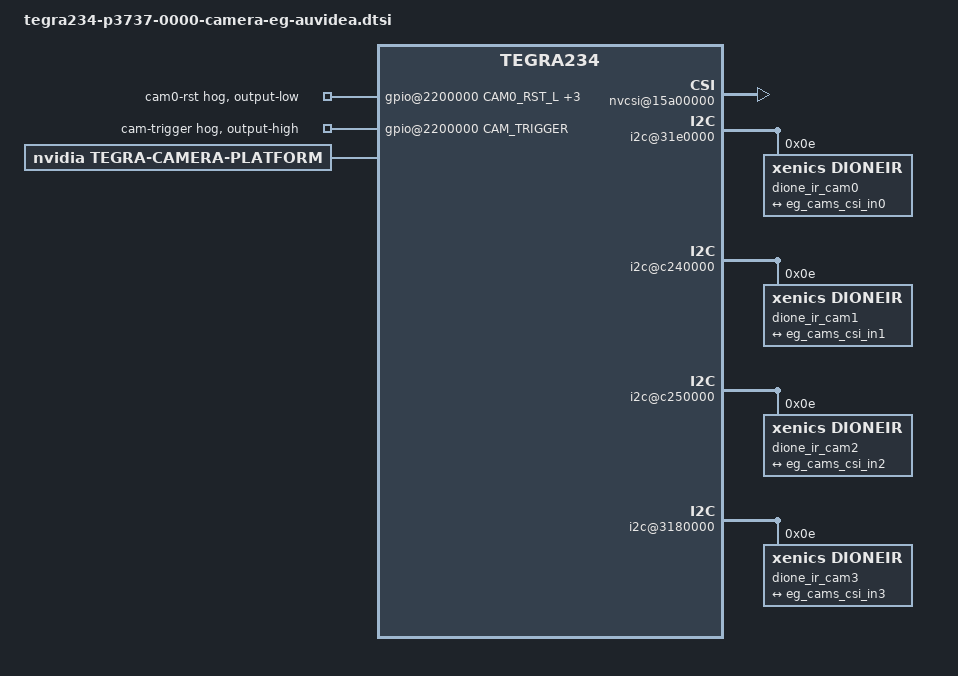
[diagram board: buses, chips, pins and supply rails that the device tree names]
/*
 * Copyright (c) 2017-2021, NVIDIA CORPORATION.  All rights reserved.
 *
 * This program is free software; you can redistribute it and/or modify it
 * under the terms and conditions of the GNU General Public License,
 * version 2, as published by the Free Software Foundation.
 *
 * This program is distributed in the hope it will be useful, but WITHOUT
 * ANY WARRANTY; without even the implied warranty of MERCHANTABILITY or
 * FITNESS FOR A PARTICULAR PURPOSE.  See the GNU General Public License for
 * more details.
 *
 * You should have received a copy of the GNU General Public License
 * along with this program.  If not, see <http://www.gnu.org/licenses/>.
 */


//new file created for 2x cam on X230D(fd)
#include "dt-bindings/clock/tegra234-clock.h"

#define CAM0_RST_L	TEGRA234_MAIN_GPIO(H, 3)
#define CAM0_PWDN	TEGRA234_MAIN_GPIO(H, 6)
#define CAM1_RST_L	TEGRA234_MAIN_GPIO(AC, 1)
#define CAM1_PWDN	TEGRA234_MAIN_GPIO(AC, 0)
#define CAM2_RST_L	TEGRA234_MAIN_GPIO(AC, 3)
#define CAM2_PWDN	TEGRA234_MAIN_GPIO(AC, 2)
#define CAM3_RST_L	TEGRA234_MAIN_GPIO(H, 4)
#define CAM3_PWDN	TEGRA234_MAIN_GPIO(H, 5)

#define CAM_TRIGGER	TEGRA234_MAIN_GPIO(R, 0)

#define CAMERA_I2C_MUX_BUS(x) (0x1E + x)


//new file created for 4x cam on X230(D) + M222					(fd)

/ {

	gpio@2200000 {
		camera-control-output-low {
			gpio-hog;
			output-low;
			gpios = <CAM0_RST_L 0 CAM0_PWDN 0
				 CAM1_RST_L 0 CAM1_PWDN 0>;
			label = "cam0-rst", "cam0-pwdn",
				"cam1-rst", "cam1-pwdn";
		};
		camera-trigger-output-high {
			gpio-hog;
			output-high;
			gpios = <CAM_TRIGGER 0>;
			label = "cam-trigger";
		};
	};


	tegra-capture-vi {
		status = "okay";
		num-channels = <4>;
		ports {
			status = "okay";
			#address-cells = <1>;
			#size-cells = <0>;
			vi_port0: port@0 {								//M222 CSI 01		
				status = "okay";
				reg = <0>;
				eg_cams_vi_in0: endpoint {
					status = "okay";
					port-index = <0>;
					bus-width = <2>;
					remote-endpoint = <&eg_cams_csi_out0>;
				};
			};
			vi_port1: port@1 {								//M222 CSI 67		
				status = "okay";
				reg = <1>;
				eg_cams_vi_in1: endpoint {
					status = "okay";
					port-index = <5>;
					bus-width = <2>;
					remote-endpoint = <&eg_cams_csi_out1>;
				};
			};
			vi_port2: port@2 {								//M222 CSI 45	
				status = "okay";
				reg = <2>;
				eg_cams_vi_in2: endpoint {
					status = "okay";
					port-index = <4>;
					bus-width = <2>;
					remote-endpoint = <&eg_cams_csi_out2>;
				};
			};
			vi_port3: port@3 {								//M222 CSI 23
				status = "okay";
				reg = <3>;
				eg_cams_vi_in3: endpoint {
					status = "okay";
					port-index = <2>;
					bus-width = <2>;
					remote-endpoint = <&eg_cams_csi_out3>;
				};
			};
		};
	};

	host1x@13e00000 {
		nvcsi@15a00000 {
			status = "okay";
			num-channels = <4>;
			#address-cells = <1>;
			#size-cells = <0>;
			csi_chan0: channel@0 {								//M222 CSI 01		
				status = "okay";
				reg = <0>;
				ports {
					status = "okay";
					#address-cells = <1>;
					#size-cells = <0>;
					csi_chan0_port0: port@0 {
						status = "okay";
						reg = <0>;
						eg_cams_csi_in0: endpoint@0 {
							status = "okay";
							port-index = <0>;
							bus-width = <2>;
							remote-endpoint = <&xenics_dione_ir_out0>;
						};
					};
					csi_chan0_port1: port@1 {
						status = "okay";
						reg = <1>;
						eg_cams_csi_out0: endpoint@1 {
							status = "okay";
							remote-endpoint = <&eg_cams_vi_in0>;
						};
					};
				};
			};
			csi_chan1: channel@1 {								//M222 CSI 67		
				status = "okay";
				reg = <1>;
				ports {
					status = "okay";
					#address-cells = <1>;
					#size-cells = <0>;
					csi_chan1_port0: port@0 {
						status = "okay";
						reg = <0>;
						eg_cams_csi_in1: endpoint@0 {
							status = "okay";
							port-index = <6>;
							bus-width = <2>;
							remote-endpoint = <&xenics_dione_ir_out1>;
						};
					};
					csi_chan1_port1: port@1 {
						status = "okay";
						reg = <1>;
						eg_cams_csi_out1: endpoint@1 {
							status = "okay";
							remote-endpoint = <&eg_cams_vi_in1>;
						};
					};
				};
			};
			csi_chan2: channel@2 {								//M222 CSI 45		
				status = "okay";
				reg = <2>;
				ports {
					status = "okay";
					#address-cells = <1>;
					#size-cells = <0>;
					csi_chan2_port0: port@0 {
						status = "okay";
						reg = <0>;
						eg_cams_csi_in2: endpoint@0 {
							status = "okay";
							port-index = <4>;
							bus-width = <2>;
							remote-endpoint = <&xenics_dione_ir_out2>;
						};
					};
					csi_chan2_port1: port@1 {
						status = "okay";
						reg = <1>;
						eg_cams_csi_out2: endpoint@1 {
							status = "okay";
							remote-endpoint = <&eg_cams_vi_in2>;
						};
					};
				};
			};
			csi_chan3: channel@3 {								//M222 CSI 23
				status = "okay";
				reg = <3>;
				ports {
					status = "okay";
					#address-cells = <1>;
					#size-cells = <0>;
					csi_chan3_port0: port@0 {
						status = "okay";
						reg = <0>;
						eg_cams_csi_in3: endpoint@0 {
							status = "okay";
							port-index = <2>;
							bus-width = <2>;
							remote-endpoint = <&xenics_dione_ir_out3>;
						};
					};
					csi_chan3_port1: port@1 {
						status = "okay";
						reg = <1>;
						eg_cams_csi_out3: endpoint@1 {
							status = "okay";
							remote-endpoint = <&eg_cams_vi_in3>;
						};
					};
				};
			};
		};
	};

	i2c@31e0000 {											//M222 CSI 01		
      dione_ir_cam0: xenics_dione_ir_a@0e {
         compatible = "xenics,dioneir";
         /* I2C device address */
         reg = <0x0e>;
         fpga-address = <0x5a 0x5b 0x5c 0x5d>;

         /* V4L2 device node location */
         devnode = "video0";

         /* Physical dimensions of sensor */
         physical_w = "7.680";
         physical_h = "5.760";

         sensor_model = "dione_ir";

         use_sensor_mode_id = "false";

         /**
         * ==== Modes ====
         * A modeX node is required to support v4l2 driver
         * implementation with NVIDIA camera software stack
         *
         * == Signal properties ==
         *
         * phy_mode = "";
         * PHY mode used by the MIPI lanes for this device
         *
         * tegra_sinterface = "";
         * CSI Serial interface connected to tegra
         * Incase of virtual HW devices, use virtual
         * For SW emulated devices, use host
         *
         * pix_clk_hz = "";
         * Sensor pixel clock used for calculations like exposure and framerate
         *
         * readout_orientation = "0";
         * Based on camera module orientation.
         * Only change readout_orientation if you specifically
         * Program a different readout order for this mode
         *
         * == Image format Properties ==
         *
         * active_w = "";
         * Pixel active region width
         *
         * active_h = "";
         * Pixel active region height
         *
         * pixel_t = "";
         * The sensor readout pixel pattern
         *
         * line_length = "";
         * Pixel line length (width) for sensor mode.
         *
         * == Source Control Settings ==
         *
         * Gain factor used to convert fixed point integer to float
         * Gain range [min_gain/gain_factor, max_gain/gain_factor]
         * Gain step [step_gain/gain_factor is the smallest step that can be configured]
         * Default gain [Default gain to be initialized for the control.
         *     use min_gain_val as default for optimal results]
         * Framerate factor used to convert fixed point integer to float
         * Framerate range [min_framerate/framerate_factor, max_framerate/framerate_factor]
         * Framerate step [step_framerate/framerate_factor is the smallest step that can be configured]
         * Default Framerate [Default framerate to be initialized for the control.
         *     use max_framerate to get required performance]
         * Exposure factor used to convert fixed point integer to float
         * For convenience use 1 sec = 1000000us as conversion factor
         * Exposure range [min_exp_time/exposure_factor, max_exp_time/exposure_factor]
         * Exposure step [step_exp_time/exposure_factor is the smallest step that can be configured]
         * Default Exposure Time [Default exposure to be initialized for the control.
         *     Set default exposure based on the default_framerate for optimal exposure settings]
         *
         * gain_factor = ""; (integer factor used for floating to fixed point conversion)
         * min_gain_val = ""; (ceil to integer)
         * max_gain_val = ""; (ceil to integer)
         * step_gain_val = ""; (ceil to integer)
         * default_gain = ""; (ceil to integer)
         * Gain limits for mode
         *
         * exposure_factor = ""; (integer factor used for floating to fixed point conversion)
         * min_exp_time = ""; (ceil to integer)
         * max_exp_time = ""; (ceil to integer)
         * step_exp_time = ""; (ceil to integer)
         * default_exp_time = ""; (ceil to integer)
         * Exposure Time limits for mode (sec)
         *
         * framerate_factor = ""; (integer factor used for floating to fixed point conversion)
         * min_framerate = ""; (ceil to integer)
         * max_framerate = ""; (ceil to integer)
         * step_framerate = ""; (ceil to integer)
         * default_framerate = ""; (ceil to integer)
         * Framerate limits for mode (fps)
         *
         * embedded_metadata_height = "";
         * Sensor embedded metadata height in units of rows.
         * If sensor does not support embedded metadata value should be 0.
         */
         
         mode0 { /* DIONE_IR_MODE_640x480_60FPS */
            mclk_khz = "24000";
            num_lanes = "2";
            tegra_sinterface = "serial_a";
            phy_mode = "DPHY";
            discontinuous_clk = "no";
            dpcm_enable = "false";
            cil_settletime = "0";

            active_w = "640";
            active_h = "480";
            mode_type = "rgb";
            pixel_phase = "rgb888";
            csi_pixel_bit_depth = "24";
            readout_orientation = "0";
            line_length = "694";
            /* inherent_gain = "1"; */
            /* mclk_multiplier = "9.33"; */
            pix_clk_hz = "20000000";

            /* unused */
            gain_factor = "16";
            exposure_factor = "1000000";
            min_gain_val = "16"; /* 1.00x */
            max_gain_val = "170"; /* 10.66x */
            step_gain_val = "1";
            default_gain = "16"; /* 1.00x */
            min_hdr_ratio = "1";
            max_hdr_ratio = "1";

            /* framerate */
            framerate_factor = "1000000";
            min_framerate = "40000000"; /* 40 fps */
            max_framerate = "62000000"; /* 62 fps */
            step_framerate = "1";
            default_framerate = "60020000"; /* 60.020 fps */

            /* unused */
            min_exp_time = "13"; /* us */
            max_exp_time = "683709"; /* us */
            step_exp_time = "1";
            default_exp_time = "2495"; /* us */

            embedded_metadata_height = "0";
         };

         mode1 { /* DIONE_IR_MODE_1280x1024_60FPS */
            mclk_khz = "24000";
            num_lanes = "2";
            tegra_sinterface = "serial_a";
            phy_mode = "DPHY";
            discontinuous_clk = "no";
            dpcm_enable = "false";
            cil_settletime = "0";

            active_w = "1280";
            active_h = "1024";
            mode_type = "rgb";
            pixel_phase = "rgb888";
            csi_pixel_bit_depth = "24";
            readout_orientation = "0";
            line_length = "1334";
            /* inherent_gain = "1"; */
            /* mclk_multiplier = "9.33"; */
            pix_clk_hz = "83000000";

            /* unused */
            gain_factor = "16";
            exposure_factor = "1000000";
            min_gain_val = "16"; /* 1.00x */
            max_gain_val = "170"; /* 10.66x */
            step_gain_val = "1";
            default_gain = "16"; /* 1.00x */
            min_hdr_ratio = "1";
            max_hdr_ratio = "1";

            /* framerate */
            framerate_factor = "1000000";
            min_framerate = "40000000"; /* 40 fps */
            max_framerate = "62000000"; /* 62 fps */
            step_framerate = "1";
            default_framerate = "60756000"; /* 60.756 fps */

            /* unused */
            min_exp_time = "13"; /* us */
            max_exp_time = "683709"; /* us */
            step_exp_time = "1";
            default_exp_time = "2495"; /* us */

            embedded_metadata_height = "0";
         };

         mode2 { /* DIONE_IR_MODE_320x240_60FPS */
            mclk_khz = "24000";
            num_lanes = "2";
            tegra_sinterface = "serial_a";
            phy_mode = "DPHY";
            discontinuous_clk = "no";
            dpcm_enable = "false";
            cil_settletime = "0";

            active_w = "320";
            active_h = "240";
            mode_type = "rgb";
            pixel_phase = "rgb888";
            csi_pixel_bit_depth = "24";
            readout_orientation = "0";
            line_length = "1404";
            /* inherent_gain = "1"; */
            /* mclk_multiplier = "9.33"; */
            pix_clk_hz = "20000000";

            /* unused */
            gain_factor = "16";
            exposure_factor = "1000000";
            min_gain_val = "16"; /* 1.00x */
            max_gain_val = "170"; /* 10.66x */
            step_gain_val = "1";
            default_gain = "16"; /* 1.00x */
            min_hdr_ratio = "1";
            max_hdr_ratio = "1";

            /* framerate */
            framerate_factor = "1000000";
            min_framerate = "40000000"; /* 40 fps */
            max_framerate = "62000000"; /* 62 fps */
            step_framerate = "1";
            default_framerate = "60020000"; /* 60.020 fps */

            /* unused */
            min_exp_time = "13"; /* us */
            max_exp_time = "683709"; /* us */
            step_exp_time = "1";
            default_exp_time = "2495"; /* us */

            embedded_metadata_height = "0";
         };

         mode3 { /* DIONE_IR_MODE_1024x768_60FPS */
            mclk_khz = "24000";
            num_lanes = "2";
            tegra_sinterface = "serial_a";
            phy_mode = "DPHY";
            discontinuous_clk = "no";
            dpcm_enable = "false";
            cil_settletime = "0";

            active_w = "1024";
            active_h = "768";
            mode_type = "rgb";
            pixel_phase = "rgb888";
            csi_pixel_bit_depth = "24";
            readout_orientation = "0";
            line_length = "1079";
            /* inherent_gain = "1"; */
            /* mclk_multiplier = "9.33"; */
            pix_clk_hz = "83000000";

            /* unused */
            gain_factor = "16";
            exposure_factor = "1000000";
            min_gain_val = "16"; /* 1.00x */
            max_gain_val = "170"; /* 10.66x */
            step_gain_val = "1";
            default_gain = "16"; /* 1.00x */
            min_hdr_ratio = "1";
            max_hdr_ratio = "1";

            /* framerate */
            framerate_factor = "1000000";
            min_framerate = "40000000"; /* 40 fps */
            max_framerate = "62000000"; /* 62 fps */
            step_framerate = "1";
            default_framerate = "60756000"; /* 60.756 fps */

            /* unused */
            min_exp_time = "13"; /* us */
            max_exp_time = "683709"; /* us */
            step_exp_time = "1";
            default_exp_time = "2495"; /* us */

            embedded_metadata_height = "0";
         };

         ports {
            #address-cells = <1>;
            #size-cells = <0>;
            port@0 {
               reg = <0>;
               xenics_dione_ir_out0: endpoint {
                  port-index = <0>;
                  bus-width = <2>;
                  remote-endpoint = <&eg_cams_csi_in0>;
                  link-frequencies = /bits/ 64 <240000000 497000000>;
               };
            };
         };
      };
      eg_ec_cam0: eg_ec_a@16 {
         compatible = "xenics,eg-ec-mipi";
         /* I2C device address */
         reg = <0x16>;
         status = "disabled";

         /* V4L2 device node location */
         devnode = "video0";

         sensor_model = "eg_ec";

         use_sensor_mode_id = "true";

         /**
         * ==== Modes ====
         * A modeX node is required to support v4l2 driver
         * implementation with NVIDIA camera software stack
         *
         * == Signal properties ==
         *
         * phy_mode = "";
         * PHY mode used by the MIPI lanes for this device
         *
         * tegra_sinterface = "";
         * CSI Serial interface connected to tegra
         * Incase of virtual HW devices, use virtual
         * For SW emulated devices, use host
         *
         * pix_clk_hz = "";
         * Sensor pixel clock used for calculations like exposure and framerate
         *
         * readout_orientation = "0";
         * Based on camera module orientation.
         * Only change readout_orientation if you specifically
         * Program a different readout order for this mode
         *
         * == Image format Properties ==
         *
         * active_w = "";
         * Pixel active region width
         *
         * active_h = "";
         * Pixel active region height
         *
         * pixel_t = "";
         * The sensor readout pixel pattern
         *
         * line_length = "";
         * Pixel line length (width) for sensor mode.
         *
         * == Source Control Settings ==
         *
         * Gain factor used to convert fixed point integer to float
         * Gain range [min_gain/gain_factor, max_gain/gain_factor]
         * Gain step [step_gain/gain_factor is the smallest step that can be configured]
         * Default gain [Default gain to be initialized for the control.
         *     use min_gain_val as default for optimal results]
         * Framerate factor used to convert fixed point integer to float
         * Framerate range [min_framerate/framerate_factor, max_framerate/framerate_factor]
         * Framerate step [step_framerate/framerate_factor is the smallest step that can be configured]
         * Default Framerate [Default framerate to be initialized for the control.
         *     use max_framerate to get required performance]
         * Exposure factor used to convert fixed point integer to float
         * For convenience use 1 sec = 1000000us as conversion factor
         * Exposure range [min_exp_time/exposure_factor, max_exp_time/exposure_factor]
         * Exposure step [step_exp_time/exposure_factor is the smallest step that can be configured]
         * Default Exposure Time [Default exposure to be initialized for the control.
         *     Set default exposure based on the default_framerate for optimal exposure settings]
         *
         * gain_factor = ""; (integer factor used for floating to fixed point conversion)
         * min_gain_val = ""; (ceil to integer)
         * max_gain_val = ""; (ceil to integer)
         * step_gain_val = ""; (ceil to integer)
         * default_gain = ""; (ceil to integer)
         * Gain limits for mode
         *
         * exposure_factor = ""; (integer factor used for floating to fixed point conversion)
         * min_exp_time = ""; (ceil to integer)
         * max_exp_time = ""; (ceil to integer)
         * step_exp_time = ""; (ceil to integer)
         * default_exp_time = ""; (ceil to integer)
         * Exposure Time limits for mode (sec)
         *
         * framerate_factor = ""; (integer factor used for floating to fixed point conversion)
         * min_framerate = ""; (ceil to integer)
         * max_framerate = ""; (ceil to integer)
         * step_framerate = ""; (ceil to integer)
         * default_framerate = ""; (ceil to integer)
         * Framerate limits for mode (fps)
         *
         * embedded_metadata_height = "";
         * Sensor embedded metadata height in units of rows.
         * If sensor does not support embedded metadata value should be 0.
         */
         mode0 { // EC_MODE_640x480_RAW16
            num_lanes = "2";
            tegra_sinterface = "serial_a";
            phy_mode = "DPHY";
            discontinuous_clk = "yes";
            dpcm_enable = "false";
            cil_settletime = "0";
            active_w = "640";
            active_h = "480";
            line_length = "640";
            mode_type = "raw";
            pixel_phase = "grey";
            csi_pixel_bit_depth = "16";
            pix_clk_hz = "100000000";
            embedded_metadata_height = "0";
         };
         mode1 { // EC_MODE_640x480_RGB888
            num_lanes = "2";
            tegra_sinterface = "serial_a";
            phy_mode = "DPHY";
            discontinuous_clk = "yes";
            dpcm_enable = "false";
            cil_settletime = "0";
            active_w = "640";
            active_h = "480";
            line_length = "640";
            mode_type = "rgb";
            pixel_phase = "rgb888";
            csi_pixel_bit_depth = "24";
            pix_clk_hz = "100000000";
            embedded_metadata_height = "0";
         };
         mode2 { // EC_MODE_640x480_YUYV
            num_lanes = "2";
            tegra_sinterface = "serial_a";
            phy_mode = "DPHY";
            discontinuous_clk = "yes";
            dpcm_enable = "false";
            cil_settletime = "0";
            active_w = "640";
            active_h = "480";
            line_length = "640";
            mode_type = "yuv";
            pixel_phase = "yuyv";
            csi_pixel_bit_depth = "16";
            pix_clk_hz = "100000000";
            embedded_metadata_height = "0";
         };
         mode3 { // EC_MODE_1280x1024_RAW16
            num_lanes = "2";
            tegra_sinterface = "serial_a";
            phy_mode = "DPHY";
            discontinuous_clk = "yes";
            dpcm_enable = "false";
            cil_settletime = "0";
            active_w = "1280";
            active_h = "1024";
            line_length = "1280";
            mode_type = "raw";
            pixel_phase = "grey";
            csi_pixel_bit_depth = "16";
            pix_clk_hz = "133333336";
            embedded_metadata_height = "0";
         };
         mode4 { // EC_MODE_1280x1024_RGB888
            num_lanes = "2";
            tegra_sinterface = "serial_a";
            phy_mode = "DPHY";
            discontinuous_clk = "yes";
            dpcm_enable = "false";
            cil_settletime = "0";
            active_w = "1280";
            active_h = "1024";
            line_length = "1280";
            mode_type = "rgb";
            pixel_phase = "rgb888";
            csi_pixel_bit_depth = "24";
            pix_clk_hz = "100000000";
            embedded_metadata_height = "0";
         };
         mode5 { // EC_MODE_1280x1024_YUYV
            num_lanes = "2";
            tegra_sinterface = "serial_a";
            phy_mode = "DPHY";
            discontinuous_clk = "yes";
            dpcm_enable = "false";
            cil_settletime = "0";
            active_w = "1280";
            active_h = "1024";
            line_length = "1280";
            mode_type = "yuv";
            pixel_phase = "yuyv";
            csi_pixel_bit_depth = "16";
            pix_clk_hz = "133333336";
            embedded_metadata_height = "0";
         };

         ports {
            #address-cells = <1>;
            #size-cells = <0>;
            port@0 {
               reg = <0>;
               eg_ec_out0: endpoint {
                  port-index = <0>;
                  bus-width = <2>;
                  remote-endpoint = <&eg_cams_csi_in0>;
               };
            };
         };
      };
	};
	i2c@c240000 {												//M222 CSI 67			
      dione_ir_cam1: xenics_dione_ir_g@0e {
         compatible = "xenics,dioneir";
         reg = <0x0e>;
         fpga-address = <0x5a 0x5b 0x5c 0x5d>;

         // V4L2 device node location
         devnode = "video1";

         /* Physical dimensions of sensor */
         physical_w = "7.680";
         physical_h = "5.760";

         sensor_model = "dione_ir";

         use_sensor_mode_id = "false";

         mode0 { /* DIONE_IR_MODE_640x480_60FPS */
            mclk_khz = "24000";
            num_lanes = "2";
            tegra_sinterface = "serial_g";
            phy_mode = "DPHY";
            discontinuous_clk = "no";
            dpcm_enable = "false";
            cil_settletime = "0";

            active_w = "640";
            active_h = "480";
            mode_type = "rgb";
            pixel_phase = "rgb888";
            csi_pixel_bit_depth = "24";
            readout_orientation = "0";
            line_length = "694";
            /* inherent_gain = "1"; */
            /* mclk_multiplier = "9.33"; */
            pix_clk_hz = "20000000";

            /* unused */
            gain_factor = "16";
            exposure_factor = "1000000";
            min_gain_val = "16"; /* 1.00x */
            max_gain_val = "170"; /* 10.66x */
            step_gain_val = "1";
            default_gain = "16"; /* 1.00x */
            min_hdr_ratio = "1";
            max_hdr_ratio = "1";

            /* framerate */
            framerate_factor = "1000000";
            min_framerate = "40000000"; /* 40 fps */
            max_framerate = "62000000"; /* 62 fps */
            step_framerate = "1";
            default_framerate = "60020000"; /* 60.020 fps */

            /* unused */
            min_exp_time = "13"; /* us */
            max_exp_time = "683709"; /* us */
            step_exp_time = "1";
            default_exp_time = "2495"; /* us */

            embedded_metadata_height = "0";
         };

         mode1 { /* DIONE_IR_MODE_1280x1024_60FPS */
            mclk_khz = "24000";
            num_lanes = "2";
            tegra_sinterface = "serial_g";
            phy_mode = "DPHY";
            discontinuous_clk = "no";
            dpcm_enable = "false";
            cil_settletime = "0";

            active_w = "1280";
            active_h = "1024";
            mode_type = "rgb";
            pixel_phase = "rgb888";
            csi_pixel_bit_depth = "24";
            readout_orientation = "0";
            line_length = "1334";
            /* inherent_gain = "1"; */
            /* mclk_multiplier = "9.33"; */
            pix_clk_hz = "83000000";

            /* unused */
            gain_factor = "16";
            exposure_factor = "1000000";
            min_gain_val = "16"; /* 1.00x */
            max_gain_val = "170"; /* 10.66x */
            step_gain_val = "1";
            default_gain = "16"; /* 1.00x */
            min_hdr_ratio = "1";
            max_hdr_ratio = "1";

            /* framerate */
            framerate_factor = "1000000";
            min_framerate = "40000000"; /* 40 fps */
            max_framerate = "62000000"; /* 62 fps */
            step_framerate = "1";
            default_framerate = "60756000"; /* 60.756 fps */

            /* unused */
            min_exp_time = "13"; /* us */
            max_exp_time = "683709"; /* us */
            step_exp_time = "1";
            default_exp_time = "2495"; /* us */

            embedded_metadata_height = "0";
         };

         mode2 { /* DIONE_IR_MODE_320x240_60FPS */
            mclk_khz = "24000";
            num_lanes = "2";
            tegra_sinterface = "serial_g";
            phy_mode = "DPHY";
            discontinuous_clk = "no";
            dpcm_enable = "false";
            cil_settletime = "0";

            active_w = "320";
            active_h = "240";
            mode_type = "rgb";
            pixel_phase = "rgb888";
            csi_pixel_bit_depth = "24";
            readout_orientation = "0";
            line_length = "1404";
            /* inherent_gain = "1"; */
            /* mclk_multiplier = "9.33"; */
            pix_clk_hz = "20000000";

            /* unused */
            gain_factor = "16";
            exposure_factor = "1000000";
            min_gain_val = "16"; /* 1.00x */
            max_gain_val = "170"; /* 10.66x */
            step_gain_val = "1";
            default_gain = "16"; /* 1.00x */
            min_hdr_ratio = "1";
            max_hdr_ratio = "1";

            /* framerate */
            framerate_factor = "1000000";
            min_framerate = "40000000"; /* 40 fps */
            max_framerate = "62000000"; /* 62 fps */
            step_framerate = "1";
            default_framerate = "60020000"; /* 60.020 fps */

            /* unused */
            min_exp_time = "13"; /* us */
            max_exp_time = "683709"; /* us */
            step_exp_time = "1";
            default_exp_time = "2495"; /* us */

            embedded_metadata_height = "0";
         };

         mode3 { /* DIONE_IR_MODE_1024x768_60FPS */
            mclk_khz = "24000";
            num_lanes = "2";
            tegra_sinterface = "serial_g";
            phy_mode = "DPHY";
            discontinuous_clk = "no";
            dpcm_enable = "false";
            cil_settletime = "0";

            active_w = "1024";
            active_h = "768";
            mode_type = "rgb";
            pixel_phase = "rgb888";
            csi_pixel_bit_depth = "24";
            readout_orientation = "0";
            line_length = "1079";
            /* inherent_gain = "1"; */
            /* mclk_multiplier = "9.33"; */
            pix_clk_hz = "83000000";

            /* unused */
            gain_factor = "16";
            exposure_factor = "1000000";
            min_gain_val = "16"; /* 1.00x */
            max_gain_val = "170"; /* 10.66x */
            step_gain_val = "1";
            default_gain = "16"; /* 1.00x */
            min_hdr_ratio = "1";
            max_hdr_ratio = "1";

            /* framerate */
            framerate_factor = "1000000";
            min_framerate = "40000000"; /* 40 fps */
            max_framerate = "62000000"; /* 62 fps */
            step_framerate = "1";
            default_framerate = "60756000"; /* 60.756 fps */

            /* unused */
            min_exp_time = "13"; /* us */
            max_exp_time = "683709"; /* us */
            step_exp_time = "1";
            default_exp_time = "2495"; /* us */

            embedded_metadata_height = "0";
         };

         ports {
            #address-cells = <1>;
            #size-cells = <0>;
            port@0 {
               reg = <0>;
               xenics_dione_ir_out1: endpoint {
                  port-index = <6>;
                  bus-width = <2>;
                  remote-endpoint = <&eg_cams_csi_in1>;
                  link-frequencies = /bits/ 64 <240000000 497000000>;
               };
            };
         };
      };
      eg_ec_cam1: eg_ec_g@16 {
         compatible = "xenics,eg-ec-mipi";
         reg = <0x16>;
         status = "disabled";

         // V4L2 device node location
         devnode = "video1";

         sensor_model = "eg_ec";

         use_sensor_mode_id = "true";

         mode0 { // EC_MODE_640x480_RAW16
            num_lanes = "2";
            tegra_sinterface = "serial_g";
            phy_mode = "DPHY";
            discontinuous_clk = "yes";
            dpcm_enable = "false";
            cil_settletime = "0";
            active_w = "640";
            active_h = "480";
            line_length = "640";
            mode_type = "raw";
            pixel_phase = "grey";
            csi_pixel_bit_depth = "16";
            pix_clk_hz = "100000000";
            embedded_metadata_height = "0";
         };
         mode1 { // EC_MODE_640x480_RGB888
            num_lanes = "2";
            tegra_sinterface = "serial_g";
            phy_mode = "DPHY";
            discontinuous_clk = "yes";
            dpcm_enable = "false";
            cil_settletime = "0";
            active_w = "640";
            active_h = "480";
            line_length = "640";
            mode_type = "rgb";
            pixel_phase = "rgb888";
            csi_pixel_bit_depth = "24";
            pix_clk_hz = "100000000";
            embedded_metadata_height = "0";
         };
         mode2 { // EC_MODE_640x480_YUYV
            num_lanes = "2";
            tegra_sinterface = "serial_g";
            phy_mode = "DPHY";
            discontinuous_clk = "yes";
            dpcm_enable = "false";
            cil_settletime = "0";
            active_w = "640";
            active_h = "480";
            line_length = "640";
            mode_type = "yuv";
            pixel_phase = "yuyv";
            csi_pixel_bit_depth = "16";
            pix_clk_hz = "100000000";
            embedded_metadata_height = "0";
         };
         mode3 { // EC_MODE_1280x1024_RAW16
            num_lanes = "2";
            tegra_sinterface = "serial_g";
            phy_mode = "DPHY";
            discontinuous_clk = "yes";
            dpcm_enable = "false";
            cil_settletime = "0";
            active_w = "1280";
            active_h = "1024";
            line_length = "1280";
            mode_type = "raw";
            pixel_phase = "grey";
            csi_pixel_bit_depth = "16";
            pix_clk_hz = "133333336";
            embedded_metadata_height = "0";
         };
         mode4 { // EC_MODE_1280x1024_RGB888
            num_lanes = "2";
            tegra_sinterface = "serial_g";
            phy_mode = "DPHY";
            discontinuous_clk = "yes";
            dpcm_enable = "false";
            cil_settletime = "0";
            active_w = "1280";
            active_h = "1024";
            line_length = "1280";
            mode_type = "rgb";
            pixel_phase = "rgb888";
            csi_pixel_bit_depth = "24";
            pix_clk_hz = "100000000";
            embedded_metadata_height = "0";
         };
         mode5 { // EC_MODE_1280x1024_YUYV
            num_lanes = "2";
            tegra_sinterface = "serial_g";
            phy_mode = "DPHY";
            discontinuous_clk = "yes";
            dpcm_enable = "false";
            cil_settletime = "0";
            active_w = "1280";
            active_h = "1024";
            line_length = "1280";
            mode_type = "yuv";
            pixel_phase = "yuyv";
            csi_pixel_bit_depth = "16";
            pix_clk_hz = "133333336";
            embedded_metadata_height = "0";
         };
         ports {
            #address-cells = <1>;
            #size-cells = <0>;
            port@0 {
               reg = <0>;
               eg_ec_out1: endpoint {
                  port-index = <6>;
                  bus-width = <2>;
                  remote-endpoint = <&eg_cams_csi_in1>;
               };
            };
         };
      };
	};
	i2c@c250000 {												//M222 CSI 45	
      dione_ir_cam2: xenics_dione_ir_e@0e {
         compatible = "xenics,dioneir";
         reg = <0x0e>;
         fpga-address = <0x5a 0x5b 0x5c 0x5d>;

         // V4L2 device node location
         devnode = "video2";

         /* Physical dimensions of sensor */
         physical_w = "7.680";
         physical_h = "5.760";

         sensor_model = "dione_ir";

         use_sensor_mode_id = "false";

         mode0 { /* DIONE_IR_MODE_640x480_60FPS */
            mclk_khz = "24000";
            num_lanes = "2";
            tegra_sinterface = "serial_e";
            phy_mode = "DPHY";
            discontinuous_clk = "no";
            dpcm_enable = "false";
            cil_settletime = "0";

            active_w = "640";
            active_h = "480";
            mode_type = "rgb";
            pixel_phase = "rgb888";
            csi_pixel_bit_depth = "24";
            readout_orientation = "0";
            line_length = "694";
            /* inherent_gain = "1"; */
            /* mclk_multiplier = "9.33"; */
            pix_clk_hz = "20000000";

            /* unused */
            gain_factor = "16";
            exposure_factor = "1000000";
            min_gain_val = "16"; /* 1.00x */
            max_gain_val = "170"; /* 10.66x */
            step_gain_val = "1";
            default_gain = "16"; /* 1.00x */
            min_hdr_ratio = "1";
            max_hdr_ratio = "1";

            /* framerate */
            framerate_factor = "1000000";
            min_framerate = "40000000"; /* 40 fps */
            max_framerate = "62000000"; /* 62 fps */
            step_framerate = "1";
            default_framerate = "60020000"; /* 60.020 fps */

            /* unused */
            min_exp_time = "13"; /* us */
            max_exp_time = "683709"; /* us */
            step_exp_time = "1";
            default_exp_time = "2495"; /* us */

            embedded_metadata_height = "0";
         };

         mode1 { /* DIONE_IR_MODE_1280x1024_60FPS */
            mclk_khz = "24000";
            num_lanes = "2";
            tegra_sinterface = "serial_e";
            phy_mode = "DPHY";
            discontinuous_clk = "no";
            dpcm_enable = "false";
            cil_settletime = "0";

            active_w = "1280";
            active_h = "1024";
            mode_type = "rgb";
            pixel_phase = "rgb888";
            csi_pixel_bit_depth = "24";
            readout_orientation = "0";
            line_length = "1334";
            /* inherent_gain = "1"; */
            /* mclk_multiplier = "9.33"; */
            pix_clk_hz = "83000000";

            /* unused */
            gain_factor = "16";
            exposure_factor = "1000000";
            min_gain_val = "16"; /* 1.00x */
            max_gain_val = "170"; /* 10.66x */
            step_gain_val = "1";
            default_gain = "16"; /* 1.00x */
            min_hdr_ratio = "1";
            max_hdr_ratio = "1";

            /* framerate */
            framerate_factor = "1000000";
            min_framerate = "40000000"; /* 40 fps */
            max_framerate = "62000000"; /* 62 fps */
            step_framerate = "1";
            default_framerate = "60756000"; /* 60.756 fps */

            /* unused */
            min_exp_time = "13"; /* us */
            max_exp_time = "683709"; /* us */
            step_exp_time = "1";
            default_exp_time = "2495"; /* us */

            embedded_metadata_height = "0";
         };

         mode2 { /* DIONE_IR_MODE_320x240_60FPS */
            mclk_khz = "24000";
            num_lanes = "2";
            tegra_sinterface = "serial_e";
            phy_mode = "DPHY";
            discontinuous_clk = "no";
            dpcm_enable = "false";
            cil_settletime = "0";

            active_w = "320";
            active_h = "240";
            mode_type = "rgb";
            pixel_phase = "rgb888";
            csi_pixel_bit_depth = "24";
            readout_orientation = "0";
            line_length = "1404";
            /* inherent_gain = "1"; */
            /* mclk_multiplier = "9.33"; */
            pix_clk_hz = "20000000";

            /* unused */
            gain_factor = "16";
            exposure_factor = "1000000";
            min_gain_val = "16"; /* 1.00x */
            max_gain_val = "170"; /* 10.66x */
            step_gain_val = "1";
            default_gain = "16"; /* 1.00x */
            min_hdr_ratio = "1";
            max_hdr_ratio = "1";

            /* framerate */
            framerate_factor = "1000000";
            min_framerate = "40000000"; /* 40 fps */
            max_framerate = "62000000"; /* 62 fps */
            step_framerate = "1";
            default_framerate = "60020000"; /* 60.020 fps */

            /* unused */
            min_exp_time = "13"; /* us */
            max_exp_time = "683709"; /* us */
            step_exp_time = "1";
            default_exp_time = "2495"; /* us */

            embedded_metadata_height = "0";
         };

         mode3 { /* DIONE_IR_MODE_1024x768_60FPS */
            mclk_khz = "24000";
            num_lanes = "2";
            tegra_sinterface = "serial_e";
            phy_mode = "DPHY";
            discontinuous_clk = "no";
            dpcm_enable = "false";
            cil_settletime = "0";

            active_w = "1024";
            active_h = "768";
            mode_type = "rgb";
            pixel_phase = "rgb888";
            csi_pixel_bit_depth = "24";
            readout_orientation = "0";
            line_length = "1079";
            /* inherent_gain = "1"; */
            /* mclk_multiplier = "9.33"; */
            pix_clk_hz = "83000000";

            /* unused */
            gain_factor = "16";
            exposure_factor = "1000000";
            min_gain_val = "16"; /* 1.00x */
            max_gain_val = "170"; /* 10.66x */
            step_gain_val = "1";
            default_gain = "16"; /* 1.00x */
            min_hdr_ratio = "1";
            max_hdr_ratio = "1";

            /* framerate */
            framerate_factor = "1000000";
            min_framerate = "40000000"; /* 40 fps */
            max_framerate = "62000000"; /* 62 fps */
            step_framerate = "1";
            default_framerate = "60756000"; /* 60.756 fps */

            /* unused */
            min_exp_time = "13"; /* us */
            max_exp_time = "683709"; /* us */
            step_exp_time = "1";
            default_exp_time = "2495"; /* us */

            embedded_metadata_height = "0";
         };

         ports {
            #address-cells = <1>;
            #size-cells = <0>;
            port@0 {
               reg = <0>;
               xenics_dione_ir_out2: endpoint {
                  port-index = <4>;
                  bus-width = <2>;
                  remote-endpoint = <&eg_cams_csi_in2>;
                  link-frequencies = /bits/ 64 <240000000 497000000>;
               };
            };
         };
      };
      eg_ec_cam2: eg_ec_e@16 {
         compatible = "xenics,eg-ec-mipi";
         reg = <0x16>;
         status = "disabled";

         // V4L2 device node location
         devnode = "video2";

         sensor_model = "eg_ec";

         use_sensor_mode_id = "true";

         mode0 { // EC_MODE_640x480_RAW16
            num_lanes = "2";
            tegra_sinterface = "serial_e";
            phy_mode = "DPHY";
            discontinuous_clk = "yes";
            dpcm_enable = "false";
            cil_settletime = "0";
            active_w = "640";
            active_h = "480";
            line_length = "640";
            mode_type = "raw";
            pixel_phase = "grey";
            csi_pixel_bit_depth = "16";
            pix_clk_hz = "100000000";
            embedded_metadata_height = "0";
         };
         mode1 { // EC_MODE_640x480_RGB888
            num_lanes = "2";
            tegra_sinterface = "serial_e";
            phy_mode = "DPHY";
            discontinuous_clk = "yes";
            dpcm_enable = "false";
            cil_settletime = "0";
            active_w = "640";
            active_h = "480";
            line_length = "640";
            mode_type = "rgb";
            pixel_phase = "rgb888";
            csi_pixel_bit_depth = "24";
            pix_clk_hz = "100000000";
            embedded_metadata_height = "0";
         };
         mode2 { // EC_MODE_640x480_YUYV
            num_lanes = "2";
            tegra_sinterface = "serial_e";
            phy_mode = "DPHY";
            discontinuous_clk = "yes";
            dpcm_enable = "false";
            cil_settletime = "0";
            active_w = "640";
            active_h = "480";
            line_length = "640";
            mode_type = "yuv";
            pixel_phase = "yuyv";
            csi_pixel_bit_depth = "16";
            pix_clk_hz = "100000000";
            embedded_metadata_height = "0";
         };
         mode3 { // EC_MODE_1280x1024_RAW16
            num_lanes = "2";
            tegra_sinterface = "serial_e";
            phy_mode = "DPHY";
            discontinuous_clk = "yes";
            dpcm_enable = "false";
            cil_settletime = "0";
            active_w = "1280";
            active_h = "1024";
            line_length = "1280";
            mode_type = "raw";
            pixel_phase = "grey";
            csi_pixel_bit_depth = "16";
            pix_clk_hz = "133333336";
            embedded_metadata_height = "0";
         };
         mode4 { // EC_MODE_1280x1024_RGB888
            num_lanes = "2";
            tegra_sinterface = "serial_e";
            phy_mode = "DPHY";
            discontinuous_clk = "yes";
            dpcm_enable = "false";
            cil_settletime = "0";
            active_w = "1280";
            active_h = "1024";
            line_length = "1280";
            mode_type = "rgb";
            pixel_phase = "rgb888";
            csi_pixel_bit_depth = "24";
            pix_clk_hz = "100000000";
            embedded_metadata_height = "0";
         };
         mode5 { // EC_MODE_1280x1024_YUYV
            num_lanes = "2";
            tegra_sinterface = "serial_e";
            phy_mode = "DPHY";
            discontinuous_clk = "yes";
            dpcm_enable = "false";
            cil_settletime = "0";
            active_w = "1280";
            active_h = "1024";
            line_length = "1280";
            mode_type = "yuv";
            pixel_phase = "yuyv";
            csi_pixel_bit_depth = "16";
            pix_clk_hz = "133333336";
            embedded_metadata_height = "0";
         };
         ports {
            #address-cells = <1>;
            #size-cells = <0>;
            port@0 {
               reg = <0>;
               eg_ec_out2: endpoint {
                  port-index = <4>;
                  bus-width = <2>;
                  remote-endpoint = <&eg_cams_csi_in2>;
               };
            };
         };
      };
	};
	i2c@3180000 {											//M222 CSI 23				
      dione_ir_cam3: xenics_dione_ir_c@0e {
         compatible = "xenics,dioneir";
         reg = <0x0e>;
         fpga-address = <0x5a 0x5b 0x5c 0x5d>;

         // V4L2 device node location
         devnode = "video3";

         /* Physical dimensions of sensor */
         physical_w = "7.680";
         physical_h = "5.760";

         sensor_model = "dione_ir";

         use_sensor_mode_id = "false";

         mode0 { /* DIONE_IR_MODE_640x480_60FPS */
            mclk_khz = "24000";
            num_lanes = "2";
            tegra_sinterface = "serial_c";
            phy_mode = "DPHY";
            discontinuous_clk = "no";
            dpcm_enable = "false";
            cil_settletime = "0";

            active_w = "640";
            active_h = "480";
            mode_type = "rgb";
            pixel_phase = "rgb888";
            csi_pixel_bit_depth = "24";
            readout_orientation = "0";
            line_length = "694";
            /* inherent_gain = "1"; */
            /* mclk_multiplier = "9.33"; */
            pix_clk_hz = "20000000";

            /* unused */
            gain_factor = "16";
            exposure_factor = "1000000";
            min_gain_val = "16"; /* 1.00x */
            max_gain_val = "170"; /* 10.66x */
            step_gain_val = "1";
            default_gain = "16"; /* 1.00x */
            min_hdr_ratio = "1";
            max_hdr_ratio = "1";

            /* framerate */
            framerate_factor = "1000000";
            min_framerate = "40000000"; /* 40 fps */
            max_framerate = "62000000"; /* 62 fps */
            step_framerate = "1";
            default_framerate = "60020000"; /* 60.020 fps */

            /* unused */
            min_exp_time = "13"; /* us */
            max_exp_time = "683709"; /* us */
            step_exp_time = "1";
            default_exp_time = "2495"; /* us */

            embedded_metadata_height = "0";
         };

         mode1 { /* DIONE_IR_MODE_1280x1024_60FPS */
            mclk_khz = "24000";
            num_lanes = "2";
            tegra_sinterface = "serial_c";
            phy_mode = "DPHY";
            discontinuous_clk = "no";
            dpcm_enable = "false";
            cil_settletime = "0";

            active_w = "1280";
            active_h = "1024";
            mode_type = "rgb";
            pixel_phase = "rgb888";
            csi_pixel_bit_depth = "24";
            readout_orientation = "0";
            line_length = "1334";
            /* inherent_gain = "1"; */
            /* mclk_multiplier = "9.33"; */
            pix_clk_hz = "83000000";

            /* unused */
            gain_factor = "16";
            exposure_factor = "1000000";
            min_gain_val = "16"; /* 1.00x */
            max_gain_val = "170"; /* 10.66x */
            step_gain_val = "1";
            default_gain = "16"; /* 1.00x */
            min_hdr_ratio = "1";
            max_hdr_ratio = "1";

            /* framerate */
            framerate_factor = "1000000";
            min_framerate = "40000000"; /* 40 fps */
            max_framerate = "62000000"; /* 62 fps */
            step_framerate = "1";
            default_framerate = "60756000"; /* 60.756 fps */

            /* unused */
            min_exp_time = "13"; /* us */
            max_exp_time = "683709"; /* us */
            step_exp_time = "1";
            default_exp_time = "2495"; /* us */

            embedded_metadata_height = "0";
         };

         mode2 { /* DIONE_IR_MODE_320x240_60FPS */
            mclk_khz = "24000";
            num_lanes = "2";
            tegra_sinterface = "serial_c";
            phy_mode = "DPHY";
            discontinuous_clk = "no";
            dpcm_enable = "false";
            cil_settletime = "0";

            active_w = "320";
            active_h = "240";
            mode_type = "rgb";
            pixel_phase = "rgb888";
            csi_pixel_bit_depth = "24";
            readout_orientation = "0";
            line_length = "1404";
            /* inherent_gain = "1"; */
            /* mclk_multiplier = "9.33"; */
            pix_clk_hz = "20000000";

            /* unused */
            gain_factor = "16";
            exposure_factor = "1000000";
            min_gain_val = "16"; /* 1.00x */
            max_gain_val = "170"; /* 10.66x */
            step_gain_val = "1";
            default_gain = "16"; /* 1.00x */
            min_hdr_ratio = "1";
            max_hdr_ratio = "1";

            /* framerate */
            framerate_factor = "1000000";
            min_framerate = "40000000"; /* 40 fps */
            max_framerate = "62000000"; /* 62 fps */
            step_framerate = "1";
            default_framerate = "60020000"; /* 60.020 fps */

            /* unused */
            min_exp_time = "13"; /* us */
            max_exp_time = "683709"; /* us */
            step_exp_time = "1";
            default_exp_time = "2495"; /* us */

            embedded_metadata_height = "0";
         };

         mode3 { /* DIONE_IR_MODE_1024x768_60FPS */
            mclk_khz = "24000";
            num_lanes = "2";
            tegra_sinterface = "serial_c";
            phy_mode = "DPHY";
            discontinuous_clk = "no";
            dpcm_enable = "false";
            cil_settletime = "0";

            active_w = "1024";
            active_h = "768";
            mode_type = "rgb";
            pixel_phase = "rgb888";
            csi_pixel_bit_depth = "24";
            readout_orientation = "0";
            line_length = "1079";
            /* inherent_gain = "1"; */
            /* mclk_multiplier = "9.33"; */
            pix_clk_hz = "83000000";

            /* unused */
            gain_factor = "16";
            exposure_factor = "1000000";
            min_gain_val = "16"; /* 1.00x */
            max_gain_val = "170"; /* 10.66x */
            step_gain_val = "1";
            default_gain = "16"; /* 1.00x */
            min_hdr_ratio = "1";
            max_hdr_ratio = "1";

            /* framerate */
            framerate_factor = "1000000";
            min_framerate = "40000000"; /* 40 fps */
            max_framerate = "62000000"; /* 62 fps */
            step_framerate = "1";
            default_framerate = "60756000"; /* 60.756 fps */

            /* unused */
            min_exp_time = "13"; /* us */
            max_exp_time = "683709"; /* us */
            step_exp_time = "1";
            default_exp_time = "2495"; /* us */

            embedded_metadata_height = "0";
         };

         ports {
            #address-cells = <1>;
            #size-cells = <0>;
            port@0 {
               reg = <0>;
               xenics_dione_ir_out3: endpoint {
                  port-index = <2>;
                  bus-width = <2>;
                  remote-endpoint = <&eg_cams_csi_in3>;
                  link-frequencies = /bits/ 64 <240000000 497000000>;
               };
            };
         };
      };
      eg_ec_cam3: eg_ec_c@16 {
         compatible = "xenics,eg-ec-mipi";
         reg = <0x16>;
         status = "disabled";

         // V4L2 device node location
         devnode = "video3";

         sensor_model = "eg_ec";

         use_sensor_mode_id = "true";

         mode0 { // EC_MODE_640x480_RAW16
            num_lanes = "2";
            tegra_sinterface = "serial_c";
            phy_mode = "DPHY";
            discontinuous_clk = "yes";
            dpcm_enable = "false";
            cil_settletime = "0";
            active_w = "640";
            active_h = "480";
            line_length = "640";
            mode_type = "raw";
            pixel_phase = "grey";
            csi_pixel_bit_depth = "16";
            pix_clk_hz = "100000000";
            embedded_metadata_height = "0";
         };
         mode1 { // EC_MODE_640x480_RGB888
            num_lanes = "2";
            tegra_sinterface = "serial_c";
            phy_mode = "DPHY";
            discontinuous_clk = "yes";
            dpcm_enable = "false";
            cil_settletime = "0";
            active_w = "640";
            active_h = "480";
            line_length = "640";
            mode_type = "rgb";
            pixel_phase = "rgb888";
            csi_pixel_bit_depth = "24";
            pix_clk_hz = "100000000";
            embedded_metadata_height = "0";
         };
         mode2 { // EC_MODE_640x480_YUYV
            num_lanes = "2";
            tegra_sinterface = "serial_c";
            phy_mode = "DPHY";
            discontinuous_clk = "yes";
            dpcm_enable = "false";
            cil_settletime = "0";
            active_w = "640";
            active_h = "480";
            line_length = "640";
            mode_type = "yuv";
            pixel_phase = "yuyv";
            csi_pixel_bit_depth = "16";
            pix_clk_hz = "100000000";
            embedded_metadata_height = "0";
         };
         mode3 { // EC_MODE_1280x1024_RAW16
            num_lanes = "2";
            tegra_sinterface = "serial_c";
            phy_mode = "DPHY";
            discontinuous_clk = "yes";
            dpcm_enable = "false";
            cil_settletime = "0";
            active_w = "1280";
            active_h = "1024";
            line_length = "1280";
            mode_type = "raw";
            pixel_phase = "grey";
            csi_pixel_bit_depth = "16";
            pix_clk_hz = "133333336";
            embedded_metadata_height = "0";
         };
         mode4 { // EC_MODE_1280x1024_RGB888
            num_lanes = "2";
            tegra_sinterface = "serial_c";
            phy_mode = "DPHY";
            discontinuous_clk = "yes";
            dpcm_enable = "false";
            cil_settletime = "0";
            active_w = "1280";
            active_h = "1024";
            line_length = "1280";
            mode_type = "rgb";
            pixel_phase = "rgb888";
            csi_pixel_bit_depth = "24";
            pix_clk_hz = "100000000";
            embedded_metadata_height = "0";
         };
         mode5 { // EC_MODE_1280x1024_YUYV
            num_lanes = "2";
            tegra_sinterface = "serial_c";
            phy_mode = "DPHY";
            discontinuous_clk = "yes";
            dpcm_enable = "false";
            cil_settletime = "0";
            active_w = "1280";
            active_h = "1024";
            line_length = "1280";
            mode_type = "yuv";
            pixel_phase = "yuyv";
            csi_pixel_bit_depth = "16";
            pix_clk_hz = "133333336";
            embedded_metadata_height = "0";
         };
         ports {
            #address-cells = <1>;
            #size-cells = <0>;
            port@0 {
               reg = <0>;
               eg_ec_out3: endpoint {
                  port-index = <2>;
                  bus-width = <2>;
                  remote-endpoint = <&eg_cams_csi_in3>;
               };
            };
         };
      };
   };
};


/ {
	tegra-camera-platform {
		compatible = "nvidia, tegra-camera-platform";

		num_csi_lanes = <8>;
		max_lane_speed = <1500000>;
		min_bits_per_pixel = <10>;
		vi_peak_byte_per_pixel = <2>;
		vi_bw_margin_pct = <25>;
		max_pixel_rate = <240000>;
		isp_peak_byte_per_pixel = <5>;
		isp_bw_margin_pct = <25>;

		modules {
			module0 {
				badge = "jakku_topright_eg_cam";
				position = "topright";
				orientation = "1";
				cam_module0_drivernode0: drivernode0 {
					pcl_id = "v4l2_sensor";
					devname = "dione_ir 8-0016";
					proc-device-tree = "/proc/device-tree/i2c@31e0000/xenics_dione_ir_a@0e";
				};
			};
			module1 {
				badge = "jakku_bottomright_eg_cam";
				position = "bottomright";
				orientation = "1";
				cam_module1_drivernode0: drivernode0 {
					pcl_id = "v4l2_sensor";
					devname = "dione_ir 1-0016";
					proc-device-tree = "/proc/device-tree/i2c@c240000/xenics_dione_ir_g@0e";
				};
			};
			module2 {
				badge = "jakku_topleft_eg_cam";
				position = "topleft";
				orientation = "1";
				cam_module2_drivernode0: drivernode0 {
					pcl_id = "v4l2_sensor";
					devname = "dione_ir 7-0016";
					proc-device-tree = "/proc/device-tree/i2c@c250000/xenics_dione_ir_e@0e";
				};
			};
			module3 {
				badge = "jakku_bottomleft_eg_cam";
				position = "bottomleft";
				orientation = "1";
				cam_module3_drivernode0: drivernode0 {
					pcl_id = "v4l2_sensor";
					devname = "dione_ir 2-0016";
					proc-device-tree = "/proc/device-tree/i2c@3180000/xenics_dione_ir_e@0e";
				};
			};
		};
	};
};
